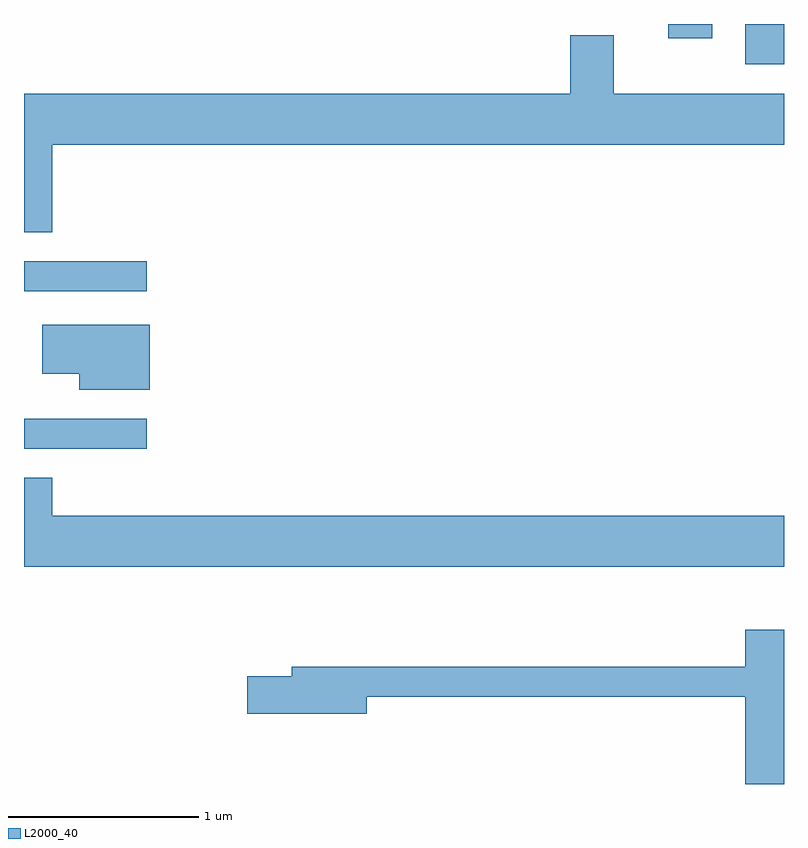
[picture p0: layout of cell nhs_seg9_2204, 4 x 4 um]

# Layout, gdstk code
import gdstk
lib = gdstk.Library(unit=1e-6, precision=1e-09)
def R(c, l, rs):  # rectangles x0, y0, x1, y1
    for r in rs: c.add(gdstk.rectangle(r[:2], r[2:], *l))
def P(c, l, *ps):  # polygons
    for p in ps: c.add(gdstk.Polygon(p, *l))
L2000_40 = (2000, 40)

nhs_seg9_2204 = lib.new_cell('nhs_seg9_2204')
R(nhs_seg9_2204, L2000_40, [(249.611,2010.196,250.258,2010.354), (249.611,2011.026,250.258,2011.184), (253.406,2012.221,253.611,2012.432), (253.001,2012.356,253.234,2012.432)])
P(nhs_seg9_2204, L2000_40, [(249.759,2011.796),(253.611,2011.796),(253.611,2012.064),(252.714,2012.064),(252.714,2012.374),(252.486,2012.374),(252.486,2012.064),(249.611,2012.064),(249.611,2011.336),(249.759,2011.336)],
  [(250.274,2010.849),(249.706,2010.849),(249.706,2010.591),(249.901,2010.591),(249.901,2010.506),(250.274,2010.506)],
  [(253.611,2009.844),(249.759,2009.844),(249.759,2010.044),(249.611,2010.044),(249.611,2009.576),(253.611,2009.576)],
  [(253.611,2009.244),(253.406,2009.244),(253.406,2009.049),(251.021,2009.049),(251.021,2008.999),(250.786,2008.999),(250.786,2008.801),(251.414,2008.801),(251.414,2008.891),(253.406,2008.891),(253.406,2008.432),(253.611,2008.432)])

lib.write_gds('nhs_seg9_2204.gds')
